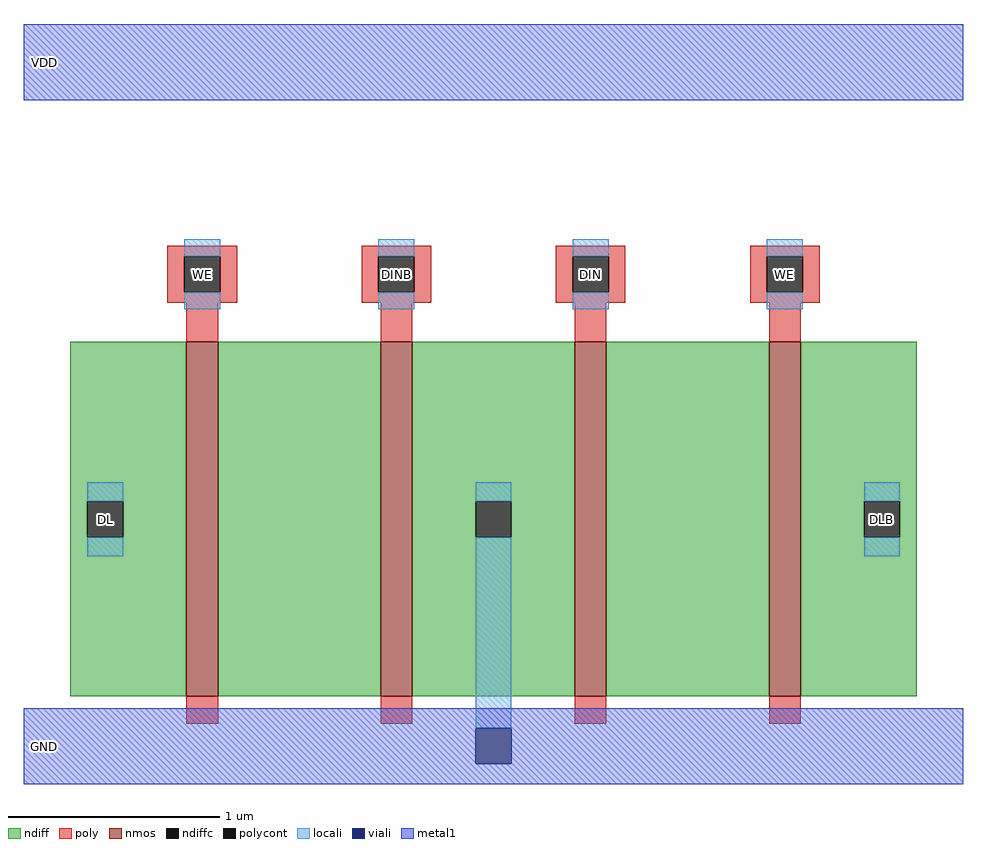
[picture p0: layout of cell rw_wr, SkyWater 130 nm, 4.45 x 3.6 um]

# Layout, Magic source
magic
tech sky130A
magscale 1 2
<< nmos >>
rect 154 47 184 383
rect 338 47 368 383
rect 522 47 552 383
rect 706 47 736 383
<< ndiff >>
rect 44 232 154 383
rect 44 198 60 232
rect 94 198 154 232
rect 44 47 154 198
rect 184 47 338 383
rect 368 232 522 383
rect 368 198 428 232
rect 462 198 522 232
rect 368 47 522 198
rect 552 47 706 383
rect 736 232 846 383
rect 736 198 796 232
rect 830 198 846 232
rect 736 47 846 198
<< ndiffc >>
rect 60 198 94 232
rect 428 198 462 232
rect 796 198 830 232
<< poly >>
rect 136 464 202 474
rect 136 430 152 464
rect 186 430 202 464
rect 136 420 202 430
rect 320 464 386 474
rect 320 430 336 464
rect 370 430 386 464
rect 320 420 386 430
rect 504 464 570 474
rect 504 430 520 464
rect 554 430 570 464
rect 504 420 570 430
rect 688 464 754 474
rect 688 430 704 464
rect 738 430 754 464
rect 688 420 754 430
rect 154 383 184 420
rect 338 383 368 420
rect 522 383 552 420
rect 706 383 736 420
rect 154 21 184 47
rect 338 21 368 47
rect 522 21 552 47
rect 706 21 736 47
<< polycont >>
rect 152 430 186 464
rect 336 430 370 464
rect 520 430 554 464
rect 704 430 738 464
<< locali >>
rect 152 464 186 480
rect 152 414 186 430
rect 336 464 370 480
rect 336 414 370 430
rect 520 464 554 480
rect 520 414 554 430
rect 704 464 738 480
rect 704 414 738 430
rect 60 232 94 250
rect 60 180 94 198
rect 428 232 462 250
rect 428 17 462 198
rect 796 232 830 250
rect 796 180 830 198
<< viali >>
rect 428 -17 462 17
<< metal1 >>
rect 0 612 890 684
rect 0 17 890 36
rect 0 -17 428 17
rect 462 -17 890 17
rect 0 -36 890 -17
<< labels >>
rlabel polycont 169 447 169 447 0 WE
port 1 nsew
rlabel polycont 353 447 353 447 0 DINB
port 2 nsew
rlabel polycont 537 447 537 447 0 DIN
port 3 nsew
rlabel polycont 721 447 721 447 0 WE
port 1 nsew
rlabel ndiffc 77 215 77 215 0 DL
port 4 nsew
rlabel ndiffc 813 215 813 215 0 DLB
port 5 nsew
rlabel metal1 20 648 20 648 0 VDD
port 6 nsew
rlabel metal1 20 0 20 0 0 GND
port 7 nsew
<< end >>
